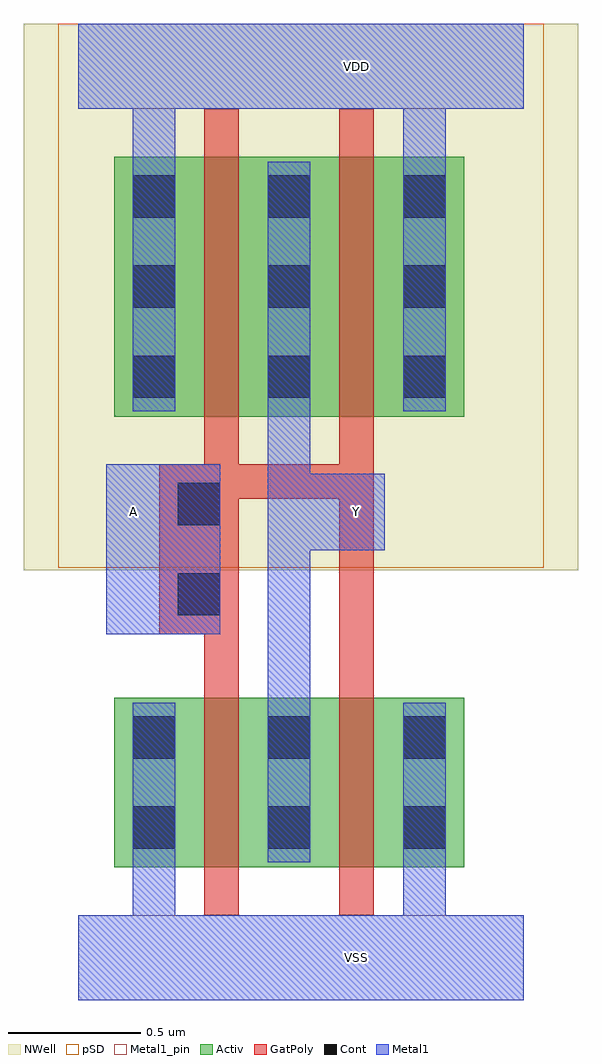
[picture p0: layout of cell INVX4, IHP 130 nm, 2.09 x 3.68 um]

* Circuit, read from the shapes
.subckt INVX4 A VDD VSS Y
XM1 Y A VSS VSUBS sg13_lv_nmos w=0.64u l=0.13u m=2
XM2 Y A VDD n1 sg13_lv_pmos w=0.98u l=0.13u m=2
.ends

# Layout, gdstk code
import gdstk
lib = gdstk.Library(unit=1e-6, precision=1e-09)
def R(c, l, rs):  # rectangles x0, y0, x1, y1
    for r in rs: c.add(gdstk.rectangle(r[:2], r[2:], *l))
def A(c, l, x, y, w, h, nx, ny, dx, dy):  # array of equal rectangles
    R(c, l, [(x+i*dx, y+j*dy, x+i*dx+w, y+j*dy+h) for i in range(nx) for j in range(ny)])
def P(c, l, *ps):  # polygons
    for p in ps: c.add(gdstk.Polygon(p, *l))
Activ = (1, 0)
GatPoly = (5, 0)
Cont = (6, 0)
Metal1 = (8, 0)
Metal1_pin = (8, 2)
pSD = (14, 0)
NWell = (31, 0)

invx4 = lib.new_cell('INVX4')
R(invx4, Activ, [(0.135,0.34,1.455,0.98), (0.135,2.04,1.455,3.02)])
P(invx4, GatPoly, [(0.475,0.16),(0.475,1.22),(0.305,1.22),(0.305,1.86),(0.475,1.86),(0.475,3.2),(0.605,3.2),(0.605,1.86),(0.985,1.86),(0.985,3.2),(1.115,3.2),(1.115,0.16),(0.985,0.16),(0.985,1.73),(0.605,1.73),(0.605,0.16)])
A(invx4, Cont, 0.205, 0.41, 0.16, 0.16, 3, 2, 0.51, 0.34)
A(invx4, Cont, 0.205, 2.11, 0.16, 0.16, 3, 3, 0.51, 0.34)
R(invx4, Cont, [(0.375,1.29,0.535,1.45), (0.375,1.63,0.535,1.79)])
R(invx4, Metal1, [(0.105,1.22,0.535,1.86)])
P(invx4, Metal1, [(0,-0.16),(0,0.16),(0.205,0.16),(0.205,0.96),(0.365,0.96),(0.365,0.16),(1.225,0.16),(1.225,0.96),(1.385,0.96),(1.385,0.16),(1.68,0.16),(1.68,-0.16)],
  [(0.205,2.06),(0.205,3.2),(0,3.2),(0,3.52),(1.68,3.52),(1.68,3.2),(1.385,3.2),(1.385,2.06),(1.225,2.06),(1.225,3.2),(0.365,3.2),(0.365,2.06)],
  [(0.715,0.36),(0.715,3),(0.875,3),(0.875,1.825),(1.155,1.825),(1.155,1.535),(0.875,1.535),(0.875,0.36)])
R(invx4, Metal1_pin, [(0,-0.16,1.68,0.16), (0.105,1.22,0.535,1.86), (0,3.2,1.68,3.52)])
P(invx4, Metal1_pin, [(0.715,0.36),(0.715,3),(0.875,3),(0.875,1.825),(1.155,1.825),(1.155,1.535),(0.875,1.535),(0.875,0.36)])
R(invx4, pSD, [(-0.075,1.47,1.755,3.52)])
R(invx4, NWell, [(-0.205,1.46,1.885,3.52)])
invx4.add(gdstk.Label('Y', (1.05,1.68), layer=8, texttype=25))
invx4.add(gdstk.Label('A', (0.21,1.68), layer=8, texttype=25))
invx4.add(gdstk.Label('VSS', (1.05,0), layer=8, texttype=25))
invx4.add(gdstk.Label('VDD', (1.05,3.36), layer=8, texttype=25))

lib.write_gds('INVX4.gds')
